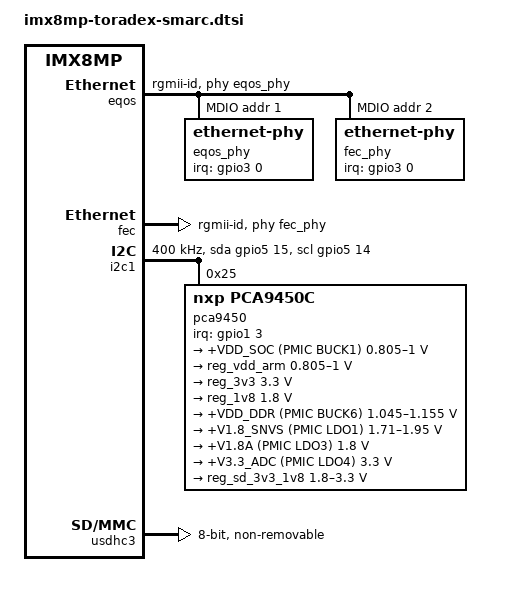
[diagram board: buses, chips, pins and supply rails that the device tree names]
// SPDX-License-Identifier: GPL-2.0-or-later OR MIT
/* Copyright (C) 2024 Toradex */

#include <dt-bindings/net/ti-dp83867.h>
#include "imx8mp.dtsi"

/ {
	aliases {
		ethernet0 = &eqos;
		ethernet1 = &fec;
		serial0 = &uart1;
		serial1 = &uart4;
		serial2 = &uart2;
		serial3 = &uart3;
	};

	chosen {
		stdout-path = &uart4;
	};
};

&A53_0 {
	cpu-supply = <&reg_vdd_arm>;
};

&A53_1 {
	cpu-supply = <&reg_vdd_arm>;
};

&A53_2 {
	cpu-supply = <&reg_vdd_arm>;
};

&A53_3 {
	cpu-supply = <&reg_vdd_arm>;
};

/* SMARC GBE0 */
&eqos {
	pinctrl-names = "default";
	pinctrl-0 = <&pinctrl_eqos>, <&pinctrl_eqos_1588_event>;
	phy-handle = <&eqos_phy>;
	phy-mode = "rgmii-id";
	snps,force_thresh_dma_mode;
	snps,mtl-rx-config = <&mtl_rx_setup>;
	snps,mtl-tx-config = <&mtl_tx_setup>;

	mdio: mdio {
		compatible = "snps,dwmac-mdio";
		#address-cells = <1>;
		#size-cells = <0>;
	};

	mtl_rx_setup: rx-queues-config {
		snps,rx-queues-to-use = <5>;

		queue0 {
			snps,dcb-algorithm;
			snps,priority = <0x1>;
			snps,map-to-dma-channel = <0>;
		};

		queue1 {
			snps,dcb-algorithm;
			snps,priority = <0x2>;
			snps,map-to-dma-channel = <1>;
		};

		queue2 {
			snps,dcb-algorithm;
			snps,priority = <0x4>;
			snps,map-to-dma-channel = <2>;
		};

		queue3 {
			snps,dcb-algorithm;
			snps,priority = <0x8>;
			snps,map-to-dma-channel = <3>;
		};

		queue4 {
			snps,dcb-algorithm;
			snps,priority = <0xf0>;
			snps,map-to-dma-channel = <4>;
		};
	};

	mtl_tx_setup: tx-queues-config {
		snps,tx-queues-to-use = <5>;

		queue0 {
			snps,dcb-algorithm;
			snps,priority = <0x1>;
		};

		queue1 {
			snps,dcb-algorithm;
			snps,priority = <0x2>;
		};

		queue2 {
			snps,dcb-algorithm;
			snps,priority = <0x4>;
		};

		queue3 {
			snps,dcb-algorithm;
			snps,priority = <0x8>;
		};

		queue4 {
			snps,dcb-algorithm;
			snps,priority = <0xf0>;
		};
	};
};

/* SMARC GBE1 */
&fec {
	pinctrl-names = "default";
	pinctrl-0 = <&pinctrl_fec>, <&pinctrl_fec_1588_event>;
	phy-handle = <&fec_phy>;
	phy-mode = "rgmii-id";
	fsl,magic-packet;
};

/* On-module I2C */
&i2c1 {
	pinctrl-names = "default", "gpio";
	pinctrl-0 = <&pinctrl_i2c1>;
	pinctrl-1 = <&pinctrl_i2c1_gpio>;
	clock-frequency = <400000>;
	scl-gpios = <&gpio5 14 (GPIO_ACTIVE_HIGH | GPIO_OPEN_DRAIN)>;
	sda-gpios = <&gpio5 15 (GPIO_ACTIVE_HIGH | GPIO_OPEN_DRAIN)>;
	status = "okay";

	pca9450: pmic@25 {
		compatible = "nxp,pca9450c";
		reg = <0x25>;
		pinctrl-names = "default";
		pinctrl-0 = <&pinctrl_pmic>;
		interrupt-parent = <&gpio1>;
		interrupts = <3 IRQ_TYPE_LEVEL_LOW>;

		regulators {
			BUCK1 {
				regulator-always-on;
				regulator-boot-on;
				regulator-max-microvolt = <1000000>;
				regulator-min-microvolt = <805000>;
				regulator-name = "+VDD_SOC (PMIC BUCK1)";
				regulator-ramp-delay = <3125>;
			};

			reg_vdd_arm: BUCK2 {
				regulator-always-on;
				regulator-boot-on;
				regulator-max-microvolt = <1000000>;
				regulator-min-microvolt = <805000>;
				regulator-name = "+VDD_ARM (PMIC BUCK2)";
				regulator-ramp-delay = <3125>;
				nxp,dvs-run-voltage = <950000>;
				nxp,dvs-standby-voltage = <850000>;
			};

			reg_3v3: BUCK4 {
				regulator-always-on;
				regulator-boot-on;
				regulator-max-microvolt = <3300000>;
				regulator-min-microvolt = <3300000>;
				regulator-name = "+V3.3 (PMIC BUCK4)";
			};

			reg_1v8: BUCK5 {
				regulator-always-on;
				regulator-boot-on;
				regulator-max-microvolt = <1800000>;
				regulator-min-microvolt = <1800000>;
				regulator-name = "+V1.8 (PMIC BUCK5)";
			};

			BUCK6 {
				regulator-always-on;
				regulator-boot-on;
				regulator-max-microvolt = <1155000>;
				regulator-min-microvolt = <1045000>;
				regulator-name = "+VDD_DDR (PMIC BUCK6)";
			};

			LDO1 {
				regulator-always-on;
				regulator-boot-on;
				regulator-max-microvolt = <1950000>;
				regulator-min-microvolt = <1710000>;
				regulator-name = "+V1.8_SNVS (PMIC LDO1)";
			};

			LDO3 {
				regulator-always-on;
				regulator-boot-on;
				regulator-max-microvolt = <1800000>;
				regulator-min-microvolt = <1800000>;
				regulator-name = "+V1.8A (PMIC LDO3)";
			};

			LDO4 {
				regulator-always-on;
				regulator-boot-on;
				regulator-max-microvolt = <3300000>;
				regulator-min-microvolt = <3300000>;
				regulator-name = "+V3.3_ADC (PMIC LDO4)";
			};

			reg_sd_3v3_1v8: LDO5 {
				regulator-max-microvolt = <3300000>;
				regulator-min-microvolt = <1800000>;
				regulator-name = "+V3.3_1.8_SD (PMIC LDO5)";
			};
		};
	};
};

&mdio {
	pinctrl-names = "default";
	pinctrl-0 = <&pinctrl_eth_mdio>;

	eqos_phy: ethernet-phy@1 {
		reg = <1>;
		interrupt-parent = <&gpio3>;
		interrupts = <0 IRQ_TYPE_LEVEL_LOW>;
		ti,rx-internal-delay = <DP83867_RGMIIDCTL_2_00_NS>;
		ti,tx-internal-delay = <DP83867_RGMIIDCTL_2_00_NS>;
	};

	fec_phy: ethernet-phy@2 {
		reg = <2>;
		interrupt-parent = <&gpio3>;
		interrupts = <0 IRQ_TYPE_LEVEL_LOW>;
		ti,rx-internal-delay = <DP83867_RGMIIDCTL_2_00_NS>;
		ti,tx-internal-delay = <DP83867_RGMIIDCTL_2_00_NS>;
	};
};

/* SMARC SER0 */
&uart1 {
	pinctrl-names = "default";
	pinctrl-0 = <&pinctrl_uart1>;
};

/* SMARC SER2 */
&uart2 {
	pinctrl-names = "default";
	pinctrl-0 = <&pinctrl_uart2>;
};

/* SMARC SER3 */
&uart3 {
	pinctrl-names = "default";
	pinctrl-0 = <&pinctrl_uart3>;
};

/* SMARC SER1, used as the Linux Console */
&uart4 {
	pinctrl-names = "default";
	pinctrl-0 = <&pinctrl_uart4>;
};

/* On-module eMMC */
&usdhc3 {
	pinctrl-names = "default", "state_100mhz", "state_200mhz";
	pinctrl-0 = <&pinctrl_usdhc3>;
	pinctrl-1 = <&pinctrl_usdhc3_100mhz>;
	pinctrl-2 = <&pinctrl_usdhc3_200mhz>;
	assigned-clocks = <&clk IMX8MP_CLK_USDHC3_ROOT>;
	assigned-clock-rates = <400000000>;
	bus-width = <8>;
	non-removable;
	status = "okay";
};

&iomuxc {
	/* ETH_0 RGMII (On-module PHY) */
	pinctrl_eqos: eqosgrp {
		fsl,pins = <MX8MP_IOMUXC_ENET_RD0__ENET_QOS_RGMII_RD0			0x90>, /* (AG29) ETH0_RGMII_RXD0 */
			   <MX8MP_IOMUXC_ENET_RD1__ENET_QOS_RGMII_RD1			0x90>, /* (AG28) ETH0_RGMII_RXD1 */
			   <MX8MP_IOMUXC_ENET_RD2__ENET_QOS_RGMII_RD2			0x90>, /* (AF29) ETH0_RGMII_RXD2 */
			   <MX8MP_IOMUXC_ENET_RD3__ENET_QOS_RGMII_RD3			0x90>, /* (AF28) ETH0_RGMII_RXD3 */
			   <MX8MP_IOMUXC_ENET_RXC__CCM_ENET_QOS_CLOCK_GENERATE_RX_CLK	0x90>, /* (AE29) ETH0_RGMII_RXC */
			   <MX8MP_IOMUXC_ENET_RX_CTL__ENET_QOS_RGMII_RX_CTL		0x90>, /* (AE28) ETH0_RGMII_RX_CTL */
			   <MX8MP_IOMUXC_ENET_TD0__ENET_QOS_RGMII_TD0			0x16>, /* (AC25) ETH0_RGMII_TXD0 */
			   <MX8MP_IOMUXC_ENET_TD1__ENET_QOS_RGMII_TD1			0x16>, /* (AE26) ETH0_RGMII_TXD1 */
			   <MX8MP_IOMUXC_ENET_TD2__ENET_QOS_RGMII_TD2			0x16>, /* (AF26) ETH0_RGMII_TXD2 */
			   <MX8MP_IOMUXC_ENET_TD3__ENET_QOS_RGMII_TD3			0x16>, /* (AD24) ETH0_RGMII_TXD3 */
			   <MX8MP_IOMUXC_ENET_TX_CTL__ENET_QOS_RGMII_TX_CTL		0x16>, /* (AF24) ETH0_RGMII_TX_CTL */
			   <MX8MP_IOMUXC_ENET_TXC__CCM_ENET_QOS_CLOCK_GENERATE_TX_CLK	0x16>; /* (AE24) ETH0_RGMII_TXC */
	};

	/* SMARC GBE0_SDP */
	pinctrl_eqos_1588_event: eqos1588eventgrp {
		fsl,pins = <MX8MP_IOMUXC_GPIO1_IO09__ENET_QOS_1588_EVENT0_OUT	0x4>; /* (B8) ETH_0_EVENT_OUT */ /* SMARC P6 */
	};

	/* ETH_0_MDIO and ETH_0_INT# shared between ETH_PHY0 and ETH_PHY1 */
	pinctrl_eth_mdio: ethmdiogrp {
		fsl,pins = <MX8MP_IOMUXC_ENET_MDC__ENET_QOS_MDC			0x2>, /* (AH28) ETH_0_MDC */
			   <MX8MP_IOMUXC_ENET_MDIO__ENET_QOS_MDIO		0x2>, /* (AH29) ETH_0_MDIO */
			   <MX8MP_IOMUXC_NAND_ALE__GPIO3_IO00			0x80>; /* (N25) ETH_0_INT# */
	};

	/* ETH_1 RGMII (On-module PHY) */
	pinctrl_fec: fecgrp {
		fsl,pins = <MX8MP_IOMUXC_SAI1_RXD4__ENET1_RGMII_RD0		0x90>, /* (AD10) ETH1_RGMII_RXD0 */
			   <MX8MP_IOMUXC_SAI1_RXD5__ENET1_RGMII_RD1		0x90>, /* (AF10) ETH1_RGMII_RXD1 */
			   <MX8MP_IOMUXC_SAI1_RXD6__ENET1_RGMII_RD2		0x90>, /* (AH10) ETH1_RGMII_RXD2 */
			   <MX8MP_IOMUXC_SAI1_RXD7__ENET1_RGMII_RD3		0x90>, /* (AH12) ETH1_RGMII_RXD3 */
			   <MX8MP_IOMUXC_SAI1_TXC__ENET1_RGMII_RXC		0x90>, /* (AJ12) ETH1_RGMII_RXC */
			   <MX8MP_IOMUXC_SAI1_TXFS__ENET1_RGMII_RX_CTL		0x90>, /* (AF12) ETH1_RGMII_RX_CTL */
			   <MX8MP_IOMUXC_SAI1_TXD0__ENET1_RGMII_TD0		0x16>, /* (AJ11) ETH1_RGMII_TXD0 */
			   <MX8MP_IOMUXC_SAI1_TXD1__ENET1_RGMII_TD1		0x16>, /* (AJ10) ETH1_RGMII_TXD1 */
			   <MX8MP_IOMUXC_SAI1_TXD2__ENET1_RGMII_TD2		0x16>, /* (AH11) ETH1_RGMII_TXD2 */
			   <MX8MP_IOMUXC_SAI1_TXD3__ENET1_RGMII_TD3		0x16>, /* (AD12) ETH1_RGMII_TXD3 */
			   <MX8MP_IOMUXC_SAI1_TXD4__ENET1_RGMII_TX_CTL		0x16>, /* (AH13) ETH1_RGMII_TX_CTL */
			   <MX8MP_IOMUXC_SAI1_TXD5__ENET1_RGMII_TXC		0x16>; /* (AH14) ETH1_RGMII_TXC */
	};

	/* SMARC GBE1_SDP */
	pinctrl_fec_1588_event: fec1588eventgrp {
		fsl,pins = <MX8MP_IOMUXC_SAI1_RXC__ENET1_1588_EVENT0_OUT	0x4>; /* (AH8) ETH_1_EVENT_OUT */ /* SMARC P5 */
	};

	/* On-module I2C */
	pinctrl_i2c1: i2c1grp {
		fsl,pins = <MX8MP_IOMUXC_I2C1_SCL__I2C1_SCL		0x400001c6>, /* (AC8) CTRL_I2C_SCL */
			   <MX8MP_IOMUXC_I2C1_SDA__I2C1_SDA		0x400001c6>; /* (AH7) CTRL_I2C_SDA */
	};

	/* On-module I2C */
	pinctrl_i2c1_gpio: i2c1gpiogrp {
		fsl,pins = <MX8MP_IOMUXC_I2C1_SCL__GPIO5_IO14		0x400001c6>, /* (AC8) CTRL_I2C_SCL */
			   <MX8MP_IOMUXC_I2C1_SDA__GPIO5_IO15		0x400001c6>; /* (AH7) CTRL_I2C_SDA */
	};

	/* PMIC Interrupt */
	pinctrl_pmic: pmicintgrp {
		fsl,pins = <MX8MP_IOMUXC_GPIO1_IO03__GPIO1_IO03		0x1c4>; /* (D6) PMIC_INT# */
	};

	/* SMARC SER0 */
	pinctrl_uart1: uart1grp {
		fsl,pins = <MX8MP_IOMUXC_SAI2_RXD0__UART1_DCE_RTS	0x1c4>, /* (AJ14) SER2_CTS */ /* SMARC P132 */
			   <MX8MP_IOMUXC_SAI2_TXFS__UART1_DCE_CTS	0x1c4>, /* (AJ17) SER2_RTS */ /* SMARC P131 */
			   <MX8MP_IOMUXC_UART1_RXD__UART1_DCE_RX	0x1c4>, /* (AD6) SER2_RX */ /* SMARC P130 */
			   <MX8MP_IOMUXC_UART1_TXD__UART1_DCE_TX	0x1c4>; /* (AJ3) SER2_TX */ /* SMARC P129 */
	};

	/* SMARC SER2 */
	pinctrl_uart2: uart2grp {
		fsl,pins = <MX8MP_IOMUXC_SD1_DATA4__UART2_DCE_RTS	0x1c4>, /* (U26) SER2_CTS */ /* SMARC P139 */
			   <MX8MP_IOMUXC_SD1_DATA5__UART2_DCE_CTS	0x1c4>, /* (AA29) SER2_RTS */ /* SMARC P138 */
			   <MX8MP_IOMUXC_UART2_RXD__UART2_DCE_RX	0x1c4>, /* (AF6) SER2_RX */ /* SMARC P137 */
			   <MX8MP_IOMUXC_UART2_TXD__UART2_DCE_TX	0x1c4>; /* (AH4) SER2_TX */ /* SMARC P136 */
	};

	/* SMARC SER3 */
	pinctrl_uart3: uart3grp {
		fsl,pins = <MX8MP_IOMUXC_UART3_RXD__UART3_DCE_RX	0x1c4>, /* (AF6) SER3_RX */ /* SMARC P141 */
			   <MX8MP_IOMUXC_UART3_TXD__UART3_DCE_TX	0x1c4>; /* (AJ4) SER3_TX */ /* SMARC P140 */
	};

	/* SMARC SER1 */
	pinctrl_uart4: uart4grp {
		fsl,pins = <MX8MP_IOMUXC_UART4_RXD__UART4_DCE_RX	0x1c4>, /* (AJ15) SER1_RX */ /* SMARC P135 */
			   <MX8MP_IOMUXC_UART4_TXD__UART4_DCE_TX	0x1c4>; /* (AH15) SER1_TX */ /* SMARC P134 */
	};

	/* On-module eMMC */
	pinctrl_usdhc3: usdhc3grp {
		fsl,pins = <MX8MP_IOMUXC_NAND_CE1_B__USDHC3_STROBE	0x190>, /* (T29) eMMC_STROBE */
			   <MX8MP_IOMUXC_NAND_CE2_B__USDHC3_DATA5	0x1d0>, /* (P28) eMMC_DATA5 */
			   <MX8MP_IOMUXC_NAND_CE3_B__USDHC3_DATA6	0x1d0>, /* (N28) eMMC_DATA6 */
			   <MX8MP_IOMUXC_NAND_CLE__USDHC3_DATA7		0x1d0>, /* (M28) eMMC_DATA7 */
			   <MX8MP_IOMUXC_NAND_DATA04__USDHC3_DATA0	0x1d0>, /* (P29) eMMC_DATA0 */
			   <MX8MP_IOMUXC_NAND_DATA05__USDHC3_DATA1	0x1d0>, /* (N20) eMMC_DATA1 */
			   <MX8MP_IOMUXC_NAND_DATA06__USDHC3_DATA2	0x1d0>, /* (M29) eMMC_DATA2 */
			   <MX8MP_IOMUXC_NAND_DATA07__USDHC3_DATA3	0x1d0>, /* (R29) eMMC_DATA3 */
			   <MX8MP_IOMUXC_NAND_RE_B__USDHC3_DATA4	0x1d0>, /* (R28) eMMC_DATA4 */
			   <MX8MP_IOMUXC_NAND_WE_B__USDHC3_CLK		0x190>, /* (U28) eMMC_CLK */
			   <MX8MP_IOMUXC_NAND_WP_B__USDHC3_CMD		0x1d0>; /* (U29) eMMC_CMD */
	};

	/* On-module eMMC */
	pinctrl_usdhc3_100mhz: usdhc3-100mhzgrp {
		fsl,pins = <MX8MP_IOMUXC_NAND_CE1_B__USDHC3_STROBE	0x194>, /* (T29) eMMC_STROBE */
			   <MX8MP_IOMUXC_NAND_CE2_B__USDHC3_DATA5	0x1d4>, /* (P28) eMMC_DATA5 */
			   <MX8MP_IOMUXC_NAND_CE3_B__USDHC3_DATA6	0x1d4>, /* (N28) eMMC_DATA6 */
			   <MX8MP_IOMUXC_NAND_CLE__USDHC3_DATA7		0x1d4>, /* (M28) eMMC_DATA7 */
			   <MX8MP_IOMUXC_NAND_DATA04__USDHC3_DATA0	0x1d4>, /* (P29) eMMC_DATA0 */
			   <MX8MP_IOMUXC_NAND_DATA05__USDHC3_DATA1	0x1d4>, /* (N20) eMMC_DATA1 */
			   <MX8MP_IOMUXC_NAND_DATA06__USDHC3_DATA2	0x1d4>, /* (M29) eMMC_DATA2 */
			   <MX8MP_IOMUXC_NAND_DATA07__USDHC3_DATA3	0x1d4>, /* (R29) eMMC_DATA3 */
			   <MX8MP_IOMUXC_NAND_RE_B__USDHC3_DATA4	0x1d4>, /* (R28) eMMC_DATA4 */
			   <MX8MP_IOMUXC_NAND_WE_B__USDHC3_CLK		0x194>, /* (U28) eMMC_CLK */
			   <MX8MP_IOMUXC_NAND_WP_B__USDHC3_CMD		0x1d4>; /* (U29) eMMC_CMD */
	};

	/* On-module eMMC */
	pinctrl_usdhc3_200mhz: usdhc3-200mhzgrp {
		fsl,pins = <MX8MP_IOMUXC_NAND_CE1_B__USDHC3_STROBE	0x196>, /* (T29) eMMC_STROBE */
			   <MX8MP_IOMUXC_NAND_CE2_B__USDHC3_DATA5	0x1d2>, /* (P28) eMMC_DATA5 */
			   <MX8MP_IOMUXC_NAND_CE3_B__USDHC3_DATA6	0x1d2>, /* (N28) eMMC_DATA6 */
			   <MX8MP_IOMUXC_NAND_CLE__USDHC3_DATA7		0x1d2>, /* (M28) eMMC_DATA7 */
			   <MX8MP_IOMUXC_NAND_DATA04__USDHC3_DATA0	0x1d2>, /* (P29) eMMC_DATA0 */
			   <MX8MP_IOMUXC_NAND_DATA05__USDHC3_DATA1	0x1d2>, /* (N20) eMMC_DATA1 */
			   <MX8MP_IOMUXC_NAND_DATA06__USDHC3_DATA2	0x1d2>, /* (M29) eMMC_DATA2 */
			   <MX8MP_IOMUXC_NAND_DATA07__USDHC3_DATA3	0x1d2>, /* (R29) eMMC_DATA3 */
			   <MX8MP_IOMUXC_NAND_RE_B__USDHC3_DATA4	0x1d2>, /* (R28) eMMC_DATA4 */
			   <MX8MP_IOMUXC_NAND_WE_B__USDHC3_CLK		0x196>, /* (U28) eMMC_CLK */
			   <MX8MP_IOMUXC_NAND_WP_B__USDHC3_CMD		0x1d6>; /* (U29) eMMC_CMD */
	};
};
